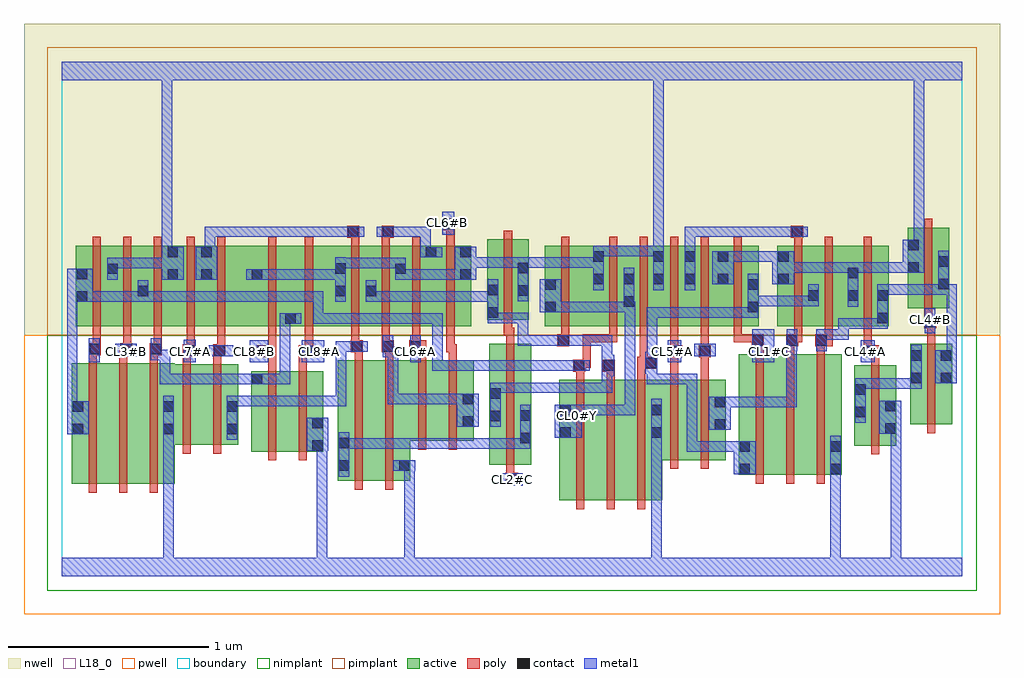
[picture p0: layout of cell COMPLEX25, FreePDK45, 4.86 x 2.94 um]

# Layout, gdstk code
import gdstk
lib = gdstk.Library(unit=1e-6, precision=1e-09)
def R(c, l, rs):  # rectangles x0, y0, x1, y1
    for r in rs: c.add(gdstk.rectangle(r[:2], r[2:], *l))
def A(c, l, x, y, w, h, nx, ny, dx, dy):  # array of equal rectangles
    R(c, l, [(x+i*dx, y+j*dy, x+i*dx+w, y+j*dy+h) for i in range(nx) for j in range(ny)])
active = (1, 0)
pwell = (2, 0)
nwell = (3, 0)
nimplant = (4, 0)
pimplant = (5, 0)
poly = (9, 0)
contact = (10, 0)
metal1 = (11, 0)
L18_0 = (18, 0)
boundary = (235, 0)

complex25 = lib.new_cell('COMPLEX25')
A(complex25, active, 0.07, 1.244, 0.06, 0.4, 3, 1, 0.152, 0)
R(complex25, active, [(2.476,0.378,2.656,0.978), (2.656,0.378,2.808,0.978), (2.808,0.378,2.988,0.978), (0.05,0.46,0.23,1.06), (0.23,0.46,0.382,1.06), (0.382,0.46,0.562,1.06), (1.374,0.474,1.554,1.074), (1.554,0.474,1.734,1.074), (3.368,0.504,3.428,1.104), (3.368,0.504,3.548,1.104), (3.548,0.504,3.7,1.104), (3.7,0.504,3.88,1.104), (3.82,0.504,3.88,1.104), (1.374,0.52,1.434,1.074), (1.674,0.52,1.734,0.674), (0.05,0.556,0.11,1.06), (2.128,0.556,2.188,1.156), (2.128,0.556,2.336,1.156), (2.276,0.556,2.336,1.156), (2.476,0.556,2.536,0.978), (2.928,0.578,3.124,0.978), (3.124,0.578,3.304,0.978), (0.942,0.62,1.122,1.02), (1.122,0.62,1.302,1.02), (1.242,0.62,1.302,1.02), (3.944,0.65,4.152,1.05), (0.502,0.654,0.698,1.054), (0.698,0.654,0.878,1.054), (1.674,0.674,1.87,1.074), (1.87,0.674,2.05,1.074), (2.928,0.686,2.988,0.858), (0.502,0.702,0.562,0.874), (0.818,0.702,0.878,1.054), (4.092,0.706,4.152,1.05), (3.244,0.726,3.304,0.978), (1.99,0.74,2.05,1.074), (0.942,0.756,1.002,1.02), (3.944,0.756,4.004,1.05), (4.222,0.756,4.282,1.156), (4.222,0.756,4.43,1.156), (4.37,0.756,4.43,1.156), (0.07,1.244,0.282,1.644), (0.222,1.244,0.434,1.644), (0.374,1.244,0.582,1.644), (0.522,1.244,0.582,1.644), (0.522,1.244,0.75,1.644), (0.69,1.244,0.75,1.644), (0.69,1.244,1.002,1.644), (0.942,1.244,1.002,1.644), (0.942,1.244,1.168,1.644), (1.108,1.244,1.168,1.644), (1.108,1.244,1.416,1.644), (1.356,1.244,1.416,1.644), (1.356,1.244,1.568,1.644), (1.508,1.244,1.568,1.644), (1.508,1.244,1.716,1.644), (1.656,1.244,1.716,1.644), (1.656,1.244,1.868,1.644), (1.808,1.244,1.868,1.644), (1.808,1.244,2.038,1.644), (1.978,1.244,2.038,1.644), (2.402,1.244,2.462,1.644), (2.402,1.244,2.7,1.644), (2.64,1.244,2.7,1.644), (2.64,1.244,2.852,1.644), (2.792,1.244,2.852,1.644), (2.792,1.244,3,1.644), (2.94,1.244,3,1.644), (2.94,1.244,3.156,1.644), (3.096,1.244,3.156,1.644), (3.096,1.244,3.32,1.644), (3.26,1.244,3.32,1.644), (3.26,1.244,3.468,1.644), (3.408,1.244,3.468,1.644), (3.56,1.244,3.62,1.644), (3.56,1.244,3.77,1.644), (3.71,1.244,3.77,1.644), (3.71,1.244,3.966,1.644), (3.906,1.244,3.966,1.644), (3.906,1.244,4.114,1.644), (4.054,1.244,4.114,1.644), (2.116,1.276,2.324,1.676), (2.116,1.276,2.176,1.644), (2.264,1.276,2.324,1.644), (4.208,1.334,4.416,1.734), (4.208,1.334,4.268,1.678), (4.356,1.334,4.416,1.644)])
R(complex25, pwell, [(-0.188,-0.188,4.668,1.2)])
R(complex25, nwell, [(-0.188,1.2,4.668,2.748)])
R(complex25, nimplant, [(-0.072,-0.072,4.552,1.2)])
R(complex25, pimplant, [(-0.072,1.2,4.552,2.632)])
A(complex25, poly, 2.56, 0.334, 0.04, 0.688, 3, 1, 0.152, 0)
A(complex25, poly, 0.134, 0.416, 0.04, 0.688, 3, 1, 0.152, 0)
A(complex25, poly, 3.452, 0.46, 0.04, 0.688, 3, 1, 0.152, 0)
A(complex25, poly, 0.134, 1.064, 0.04, 0.076, 3, 1, 0.152, 0)
A(complex25, poly, 3.452, 1.108, 0.04, 0.076, 3, 1, 0.152, 0)
A(complex25, poly, 0.154, 1.12, 0.04, 0.12, 3, 1, 0.152, 0)
A(complex25, poly, 1.44, 1.134, 0.04, 0.106, 3, 1, 0.152, 0)
A(complex25, poly, 0.154, 1.2, 0.04, 0.488, 3, 1, 0.152, 0)
A(complex25, poly, 1.44, 1.2, 0.04, 0.488, 3, 1, 0.152, 0)
A(complex25, poly, 2.724, 1.2, 0.04, 0.488, 4, 1, 0.152, 0)
R(complex25, poly, [(1.458,0.43,1.498,1.118), (1.61,0.43,1.65,1.118), (2.21,0.456,2.27,0.516), (2.212,0.476,2.252,0.552), (2.212,0.512,2.252,1.2), (3.028,0.534,3.068,1.022), (3.18,0.534,3.22,1.022), (1.026,0.576,1.066,1.064), (1.178,0.576,1.218,1.064), (4.028,0.606,4.068,1.094), (0.602,0.61,0.642,1.098), (0.754,0.61,0.794,1.098), (1.774,0.63,1.814,1.118), (1.926,0.63,1.966,1.118), (4.306,0.712,4.346,1.2), (2.56,0.982,2.6,1.058), (2.712,0.982,2.752,1.058), (2.864,0.982,2.904,1.072), (3.028,0.982,3.068,1.13), (3.18,0.982,3.22,1.13), (2.544,1.018,2.604,1.078), (2.692,1.018,2.752,1.078), (1.026,1.024,1.066,1.13), (1.178,1.024,1.218,1.13), (2.864,1.032,2.96,1.092), (2.564,1.038,2.632,1.078), (2.592,1.038,2.632,1.078), (2.592,1.038,2.632,1.204), (2.876,1.052,2.916,1.092), (2.876,1.052,2.916,1.092), (2.876,1.052,2.916,1.24), (4.028,1.054,4.068,1.13), (0.602,1.058,0.642,1.134), (0.754,1.058,0.794,1.134), (1.458,1.078,1.498,1.154), (1.61,1.078,1.65,1.154), (1.774,1.078,1.814,1.154), (1.926,1.078,1.966,1.154), (0.97,1.09,1.066,1.15), (1.178,1.09,1.25,1.15), (3.026,1.09,3.086,1.15), (3.17,1.09,3.23,1.15), (3.99,1.09,4.068,1.15), (0.602,1.094,0.662,1.154), (0.754,1.094,0.814,1.154), (0.134,1.1,0.174,1.14), (0.134,1.1,0.174,1.14), (0.134,1.1,0.194,1.16), (0.286,1.1,0.33,1.14), (0.29,1.1,0.33,1.14), (0.29,1.1,0.35,1.16), (0.438,1.1,0.498,1.16), (1.026,1.11,1.066,1.15), (1.026,1.11,1.066,1.15), (1.026,1.11,1.066,1.24), (1.21,1.11,1.25,1.15), (1.21,1.11,1.25,1.15), (1.21,1.11,1.25,1.24), (3.028,1.11,3.068,1.15), (3.028,1.11,3.068,1.15), (3.028,1.11,3.068,1.24), (3.18,1.11,3.22,1.15), (3.18,1.11,3.22,1.15), (3.18,1.11,3.22,1.24), (3.99,1.11,4.03,1.15), (3.99,1.11,4.03,1.15), (3.99,1.11,4.03,1.24), (0.622,1.114,0.662,1.154), (0.622,1.114,0.662,1.154), (0.622,1.114,0.662,1.24), (0.774,1.114,0.814,1.154), (0.774,1.114,0.814,1.154), (0.774,1.114,0.814,1.24), (1.438,1.114,1.498,1.174), (1.592,1.114,1.652,1.174), (1.73,1.114,1.814,1.174), (1.914,1.114,1.966,1.154), (1.914,1.114,1.954,1.24), (1.926,1.114,1.966,1.154), (1.926,1.114,1.966,1.154), (0.458,1.12,0.498,1.16), (0.458,1.12,0.498,1.16), (1.44,1.134,1.48,1.174), (1.44,1.134,1.48,1.174), (1.592,1.134,1.632,1.174), (1.592,1.134,1.632,1.174), (1.744,1.134,1.784,1.174), (1.744,1.134,1.784,1.174), (2.466,1.144,2.526,1.204), (3.432,1.144,3.492,1.204), (3.604,1.144,3.664,1.204), (3.75,1.144,3.836,1.204), (3.756,1.144,3.796,1.184), (3.756,1.144,3.796,1.184), (2.212,1.16,2.252,1.236), (4.306,1.16,4.346,1.274), (2.486,1.164,2.526,1.24), (2.592,1.164,2.632,1.204), (2.592,1.164,2.764,1.204), (2.724,1.164,2.764,1.24), (2.724,1.164,2.764,1.204), (3.344,1.164,3.384,1.24), (3.344,1.164,3.472,1.204), (3.432,1.164,3.472,1.204), (3.624,1.164,3.664,1.204), (3.624,1.164,3.684,1.204), (3.644,1.164,3.684,1.24), (3.796,1.164,3.836,1.24), (2.2,1.196,2.24,1.272), (2.2,1.196,2.252,1.236), (2.212,1.196,2.252,1.236), (2.212,1.196,2.252,1.236), (0.622,1.2,0.662,1.688), (0.774,1.2,0.814,1.688), (1.026,1.2,1.066,1.688), (1.21,1.2,1.25,1.688), (1.914,1.2,1.954,1.688), (2.486,1.2,2.526,1.688), (3.344,1.2,3.384,1.688), (3.644,1.2,3.684,1.688), (3.796,1.2,3.836,1.688), (3.99,1.2,4.03,1.688), (2.2,1.232,2.24,1.72), (4.29,1.234,4.35,1.294), (4.292,1.254,4.332,1.33), (4.292,1.254,4.332,1.294), (4.292,1.254,4.332,1.294), (4.292,1.29,4.332,1.778), (1.44,1.648,1.48,1.724), (1.592,1.648,1.632,1.724), (1.914,1.648,1.954,1.762), (3.644,1.648,3.684,1.724), (1.42,1.684,1.48,1.744), (1.592,1.684,1.652,1.744), (3.628,1.684,3.688,1.744), (1.894,1.722,1.954,1.782)])
R(complex25, contact, [(2.214,0.46,2.266,0.512), (3.372,0.508,3.424,0.56), (3.824,0.508,3.876,0.56), (1.378,0.524,1.43,0.576), (1.678,0.524,1.73,0.576), (3.372,0.62,3.424,0.672), (3.824,0.62,3.876,0.672), (1.246,0.624,1.298,0.676), (1.378,0.636,1.43,0.688), (2.28,0.662,2.332,0.714), (2.48,0.69,2.532,0.742), (2.932,0.69,2.984,0.742), (0.054,0.706,0.106,0.758), (0.506,0.706,0.558,0.758), (0.822,0.706,0.874,0.758), (4.096,0.71,4.148,0.762), (3.248,0.73,3.3,0.782), (1.246,0.736,1.298,0.788), (1.994,0.744,2.046,0.796), (2.132,0.772,2.184,0.824), (2.28,0.774,2.332,0.826), (3.948,0.792,4,0.844), (2.48,0.802,2.532,0.854), (2.932,0.802,2.984,0.854), (0.054,0.818,0.106,0.87), (0.506,0.818,0.558,0.87), (0.822,0.818,0.874,0.87), (4.096,0.822,4.148,0.874), (3.248,0.842,3.3,0.894), (1.994,0.856,2.046,0.908), (2.132,0.884,2.184,0.936), (3.948,0.904,4,0.956), (0.946,0.956,0.998,1.008), (4.226,0.96,4.278,1.012), (4.374,0.96,4.426,1.012), (2.548,1.022,2.6,1.074), (2.696,1.022,2.748,1.074), (2.904,1.036,2.956,1.088), (4.226,1.072,4.278,1.124), (4.374,1.072,4.426,1.124), (0.974,1.094,1.026,1.146), (1.194,1.094,1.246,1.146), (3.03,1.094,3.082,1.146), (3.174,1.094,3.226,1.146), (3.994,1.094,4.046,1.146), (0.606,1.098,0.658,1.15), (0.758,1.098,0.81,1.15), (0.138,1.104,0.19,1.156), (0.294,1.104,0.346,1.156), (0.442,1.104,0.494,1.156), (1.442,1.118,1.494,1.17), (1.596,1.118,1.648,1.17), (1.734,1.118,1.786,1.17), (2.47,1.148,2.522,1.2), (3.436,1.148,3.488,1.2), (3.608,1.148,3.66,1.2), (3.754,1.148,3.806,1.2), (4.294,1.238,4.346,1.29), (1.112,1.256,1.164,1.308), (4.058,1.26,4.11,1.312), (2.12,1.286,2.172,1.338), (2.406,1.314,2.458,1.366), (3.412,1.314,3.464,1.366), (2.796,1.342,2.848,1.394), (0.074,1.366,0.126,1.418), (3.91,1.37,3.962,1.422), (3.714,1.372,3.766,1.424), (4.058,1.372,4.11,1.424), (0.378,1.394,0.43,1.446), (1.36,1.394,1.412,1.446), (1.512,1.394,1.564,1.446), (2.268,1.396,2.32,1.448), (2.12,1.398,2.172,1.45), (2.406,1.426,2.458,1.478), (3.412,1.426,3.464,1.478), (4.36,1.428,4.412,1.48), (2.644,1.452,2.696,1.504), (2.944,1.452,2.996,1.504), (3.1,1.452,3.152,1.504), (3.264,1.452,3.316,1.504), (2.796,1.454,2.848,1.506), (3.564,1.454,3.616,1.506), (0.526,1.476,0.578,1.528), (0.694,1.476,0.746,1.528), (0.946,1.476,0.998,1.528), (1.982,1.476,2.034,1.528), (0.074,1.478,0.126,1.53), (3.91,1.482,3.962,1.534), (0.226,1.504,0.278,1.556), (1.66,1.504,1.712,1.556), (1.36,1.506,1.412,1.558), (2.268,1.508,2.32,1.56), (4.212,1.51,4.264,1.562), (4.36,1.54,4.412,1.592), (2.644,1.564,2.696,1.616), (2.944,1.564,2.996,1.616), (3.1,1.564,3.152,1.616), (3.264,1.564,3.316,1.616), (3.564,1.566,3.616,1.618), (1.812,1.586,1.864,1.638), (0.526,1.588,0.578,1.64), (0.694,1.588,0.746,1.64), (1.982,1.588,2.034,1.64), (4.212,1.622,4.264,1.674), (1.424,1.688,1.476,1.74), (1.596,1.688,1.648,1.74), (3.632,1.688,3.684,1.74), (1.898,1.726,1.95,1.778)])
A(complex25, metal1, 1.66, 1.256, 0.176, 0.052, 1, 3, 0, 0.11)
R(complex25, metal1, [(0,0,4.48,0.092), (0.506,0.04,0.558,0.092), (0.506,0.04,0.558,0.092), (0.506,0.04,0.558,0.73), (1.268,0.04,1.32,0.092), (1.268,0.04,1.32,0.092), (1.268,0.04,1.32,0.092), (1.268,0.04,1.32,0.092), (1.268,0.04,1.32,0.676), (1.704,0.04,1.756,0.092), (1.704,0.04,1.756,0.092), (1.704,0.04,1.756,0.092), (1.704,0.04,1.756,0.092), (1.704,0.04,1.756,0.576), (2.932,0.04,2.984,0.092), (2.932,0.04,2.984,0.092), (2.932,0.04,2.984,0.092), (2.932,0.04,2.984,0.092), (2.932,0.04,2.984,0.092), (2.932,0.04,2.984,0.092), (2.932,0.04,2.984,0.092), (2.932,0.04,2.984,0.092), (2.932,0.04,2.984,0.714), (3.824,0.04,3.876,0.092), (3.824,0.04,3.876,0.092), (3.824,0.04,3.876,0.092), (3.824,0.04,3.876,0.092), (3.824,0.04,3.876,0.092), (3.824,0.04,3.876,0.092), (3.824,0.04,3.876,0.532), (4.124,0.04,4.176,0.092), (4.124,0.04,4.176,0.092), (4.124,0.04,4.176,0.092), (4.124,0.04,4.176,0.092), (4.124,0.04,4.176,0.092), (4.124,0.04,4.176,0.092), (4.124,0.04,4.176,0.092), (4.124,0.04,4.176,0.092), (4.124,0.04,4.176,0.762), (2.186,0.45,2.294,0.512), (3.824,0.48,3.876,0.532), (3.824,0.48,3.876,0.532), (3.824,0.48,3.876,0.7), (1.378,0.496,1.43,0.716), (3.344,0.508,3.452,0.672), (1.65,0.524,1.758,0.576), (1.704,0.524,1.756,0.576), (1.704,0.524,1.756,0.576), (1.704,0.524,1.756,0.576), (1.704,0.524,1.756,0.576), (3.11,0.62,3.162,0.672), (3.11,0.62,3.176,0.672), (3.11,0.62,3.162,1.008), (3.124,0.62,3.176,0.672), (3.124,0.62,3.344,0.672), (3.292,0.62,3.344,0.672), (3.292,0.62,3.396,0.672), (1.218,0.624,1.326,0.788), (1.268,0.624,1.32,0.676), (1.268,0.624,1.32,0.676), (1.268,0.624,1.32,0.676), (1.268,0.624,1.32,0.676), (1.268,0.624,1.32,0.676), (1.268,0.624,1.32,0.676), (1.268,0.624,1.32,0.676), (1.268,0.624,1.32,0.676), (1.378,0.634,1.454,0.686), (1.402,0.634,1.454,0.686), (1.402,0.634,1.564,0.686), (1.512,0.634,1.564,0.686), (1.512,0.634,1.564,0.686), (1.512,0.634,1.564,0.686), (1.512,0.634,1.712,0.686), (1.66,0.634,1.712,0.686), (1.66,0.634,1.836,0.686), (1.784,0.634,1.836,0.686), (1.784,0.634,1.836,0.686), (1.784,0.634,1.836,0.686), (1.784,0.634,1.946,0.686), (1.894,0.634,1.946,0.686), (1.894,0.634,2.128,0.686), (2.076,0.634,2.128,0.686), (2.076,0.634,2.128,0.686), (2.076,0.634,2.128,0.686), (2.076,0.634,2.238,0.686), (2.186,0.634,2.238,0.686), (2.186,0.634,2.332,0.686), (2.28,0.634,2.332,0.854), (2.932,0.662,2.984,0.882), (0.506,0.678,0.558,0.73), (0.506,0.678,0.558,0.73), (0.506,0.678,0.558,0.73), (0.506,0.678,0.558,0.73), (0.506,0.678,0.558,0.73), (0.506,0.678,0.558,0.73), (0.506,0.678,0.558,0.898), (0.822,0.678,0.874,0.898), (2.452,0.69,2.586,0.854), (0.026,0.706,0.134,0.87), (4.068,0.71,4.176,0.874), (4.124,0.71,4.176,0.762), (4.124,0.71,4.176,0.762), (4.124,0.71,4.176,0.762), (4.124,0.71,4.176,0.762), (3.22,0.73,3.328,0.894), (1.966,0.744,2.074,0.908), (2.132,0.744,2.184,0.964), (3.948,0.764,4,0.984), (2.534,0.802,2.586,0.854), (2.534,0.802,2.586,0.854), (2.534,0.802,2.738,0.854), (2.686,0.802,2.738,0.854), (2.686,0.802,2.738,0.854), (2.686,0.802,2.738,0.854), (2.686,0.802,2.852,0.854), (2.8,0.802,2.852,0.854), (2.8,0.802,2.852,0.854), (2.8,0.802,2.852,0.854), (2.8,0.802,2.852,0.854), (2.8,0.802,2.852,0.854), (2.8,0.802,2.852,1.366), (0.026,0.818,0.078,0.87), (0.026,0.818,0.078,0.87), (0.026,0.818,0.078,1.418), (3.276,0.842,3.328,0.894), (3.276,0.842,3.328,0.894), (3.276,0.842,3.454,0.894), (3.402,0.842,3.454,0.894), (3.402,0.842,3.454,0.894), (3.402,0.842,3.454,0.894), (3.402,0.842,3.656,0.894), (3.604,0.842,3.656,0.894), (3.604,0.842,3.656,1.172), (0.822,0.846,0.874,0.898), (0.822,0.846,0.874,0.898), (0.822,0.846,0.984,0.898), (0.932,0.846,0.984,0.898), (0.932,0.846,1.16,0.898), (1.108,0.846,1.16,0.898), (1.108,0.846,1.16,0.898), (1.108,0.846,1.16,0.898), (1.108,0.846,1.27,0.898), (1.218,0.846,1.27,0.898), (1.218,0.846,1.416,0.898), (1.364,0.846,1.416,0.898), (1.364,0.846,1.416,1.17), (1.622,0.856,1.674,0.908), (1.622,0.856,1.822,0.908), (1.622,0.856,1.674,1.142), (1.77,0.856,1.822,0.908), (1.77,0.856,1.822,0.908), (1.77,0.856,1.822,0.908), (1.77,0.856,2.018,0.908), (1.966,0.856,2.018,0.908), (1.966,0.856,2.018,0.908), (2.132,0.912,2.32,0.964), (2.268,0.912,2.32,0.964), (2.268,0.912,2.32,0.964), (2.268,0.912,2.32,0.964), (2.268,0.912,2.442,0.964), (2.39,0.912,2.442,0.964), (2.39,0.912,2.442,0.964), (2.39,0.912,2.442,0.964), (2.39,0.912,2.738,0.964), (2.686,0.912,2.738,0.964), (2.686,0.912,2.738,1.046), (3.948,0.932,4,0.984), (3.948,0.932,4,0.984), (3.948,0.932,4.11,0.984), (4.058,0.932,4.11,0.984), (4.058,0.932,4.278,0.984), (4.226,0.932,4.278,1.152), (0.488,0.956,0.54,1.008), (0.488,0.956,0.654,1.008), (0.488,0.956,0.54,1.128), (0.602,0.956,0.654,1.008), (0.602,0.956,0.764,1.008), (0.712,0.956,0.764,1.008), (0.712,0.956,0.764,1.008), (0.712,0.956,0.764,1.008), (0.712,0.956,0.874,1.008), (0.822,0.956,0.874,1.008), (0.822,0.956,0.97,1.008), (0.918,0.956,1.026,1.008), (0.974,0.956,1.026,1.008), (0.974,0.956,1.026,1.008), (0.974,0.956,1.136,1.008), (1.084,0.956,1.136,1.008), (1.084,0.956,1.136,1.308), (2.91,0.956,2.962,1.008), (2.91,0.956,3.066,1.008), (2.91,0.956,2.962,1.06), (3.014,0.956,3.066,1.008), (3.014,0.956,3.162,1.008), (3.11,0.956,3.162,1.008), (4.346,0.96,4.454,1.124), (2.686,0.994,2.738,1.046), (2.686,0.994,2.748,1.046), (2.686,0.994,2.738,1.2), (2.696,0.994,2.748,1.102), (2.904,1.008,2.956,1.116), (2.904,1.008,2.962,1.06), (2.91,1.008,2.962,1.06), (2.91,1.008,2.962,1.338), (1.844,1.022,1.896,1.074), (1.844,1.022,1.994,1.074), (1.844,1.022,1.896,1.308), (1.942,1.022,1.994,1.074), (1.942,1.022,2.128,1.074), (2.076,1.022,2.128,1.074), (2.076,1.022,2.128,1.074), (2.076,1.022,2.128,1.074), (2.076,1.022,2.32,1.074), (2.268,1.022,2.32,1.074), (2.268,1.022,2.32,1.074), (2.268,1.022,2.32,1.074), (2.268,1.022,2.572,1.074), (2.52,1.022,2.572,1.074), (2.52,1.022,2.572,1.074), (2.52,1.022,2.628,1.074), (0.134,1.066,0.19,1.184), (0.606,1.066,0.666,1.178), (0.934,1.066,1.026,1.174), (1.194,1.066,1.306,1.174), (1.734,1.066,1.786,1.198), (3.014,1.066,3.082,1.174), (3.436,1.066,3.546,1.228), (3.974,1.066,4.046,1.174), (4.402,1.072,4.454,1.452), (0.442,1.076,0.494,1.184), (0.442,1.076,0.54,1.128), (0.488,1.076,0.54,1.128), (1.596,1.09,1.648,1.198), (1.596,1.09,1.674,1.142), (1.622,1.09,1.674,1.142), (0.266,1.094,0.374,1.156), (0.73,1.094,0.854,1.15), (3.146,1.094,3.254,1.156), (1.364,1.118,1.416,1.17), (1.364,1.118,1.416,1.17), (1.364,1.118,1.416,1.17), (1.364,1.118,1.466,1.17), (1.414,1.118,1.522,1.17), (3.604,1.12,3.656,1.172), (3.604,1.12,3.66,1.172), (3.608,1.12,3.66,1.228), (3.754,1.12,3.806,1.228), (2.268,1.148,2.32,1.2), (2.268,1.148,2.494,1.2), (2.268,1.148,2.32,1.31), (2.442,1.148,2.494,1.2), (2.442,1.148,2.494,1.2), (2.442,1.148,2.55,1.2), (2.498,1.148,2.738,1.2), (2.686,1.148,2.738,1.2), (3.754,1.176,3.89,1.228), (3.838,1.176,3.89,1.228), (3.838,1.176,3.916,1.228), (3.864,1.176,3.916,1.228), (3.864,1.176,3.916,1.284), (4.294,1.21,4.346,1.334), (3.864,1.232,3.916,1.284), (3.864,1.232,4,1.284), (3.948,1.232,4,1.284), (3.948,1.232,4.11,1.284), (4.058,1.232,4.11,1.452), (1.084,1.256,1.136,1.308), (1.084,1.256,1.136,1.308), (1.084,1.256,1.136,1.308), (1.084,1.256,1.136,1.308), (1.084,1.256,1.192,1.308), (1.25,1.256,1.302,1.308), (1.25,1.256,1.454,1.308), (1.25,1.256,1.302,1.418), (1.402,1.256,1.454,1.308), (1.402,1.256,1.454,1.308), (1.402,1.256,1.454,1.308), (1.402,1.256,1.454,1.308), (1.402,1.256,1.454,1.308), (1.402,1.256,1.564,1.308), (1.512,1.256,1.564,1.308), (1.512,1.256,1.564,1.308), (1.512,1.256,1.564,1.308), (1.512,1.256,1.712,1.308), (1.66,1.256,1.712,1.308), (1.784,1.256,1.836,1.308), (1.784,1.256,1.896,1.308), (1.844,1.256,1.896,1.308), (2.12,1.258,2.172,1.478), (2.12,1.258,2.32,1.31), (2.268,1.258,2.32,1.31), (2.268,1.258,2.32,1.31), (2.268,1.258,2.32,1.31), (2.91,1.286,2.962,1.338), (2.91,1.286,2.962,1.338), (2.91,1.286,2.962,1.338), (2.91,1.286,3.066,1.338), (3.014,1.286,3.066,1.338), (3.014,1.286,3.162,1.338), (3.11,1.286,3.162,1.338), (3.11,1.286,3.176,1.338), (3.124,1.286,3.176,1.338), (3.124,1.286,3.288,1.338), (3.236,1.286,3.288,1.338), (3.236,1.286,3.288,1.338), (3.236,1.286,3.288,1.338), (3.236,1.286,3.464,1.338), (3.412,1.286,3.464,1.338), (3.412,1.286,3.464,1.338), (3.412,1.286,3.464,1.506), (2.378,1.314,2.486,1.478), (2.434,1.314,2.486,1.366), (2.434,1.314,2.486,1.366), (2.434,1.314,2.738,1.366), (2.686,1.314,2.738,1.366), (2.686,1.314,2.846,1.366), (2.794,1.314,2.846,1.366), (2.794,1.314,2.848,1.366), (2.796,1.314,2.848,1.366), (2.796,1.314,2.848,1.534), (2.796,1.314,2.852,1.366), (2.8,1.314,2.852,1.366), (2.8,1.314,2.852,1.366), (3.91,1.342,3.962,1.562), (3.412,1.344,3.656,1.396), (3.604,1.344,3.656,1.396), (3.604,1.344,3.656,1.396), (3.604,1.344,3.656,1.396), (3.604,1.344,3.766,1.396), (3.714,1.344,3.766,1.452), (0.026,1.366,0.078,1.418), (0.026,1.366,0.078,1.418), (0.026,1.366,0.154,1.53), (0.102,1.366,0.154,1.418), (0.102,1.366,0.154,1.418), (0.102,1.366,0.264,1.418), (0.212,1.366,0.264,1.418), (0.212,1.366,0.264,1.418), (0.212,1.366,0.264,1.418), (0.212,1.366,0.43,1.418), (0.378,1.366,0.43,1.418), (0.378,1.366,0.43,1.418), (0.378,1.366,0.43,1.474), (0.378,1.366,0.608,1.418), (0.556,1.366,0.608,1.418), (0.556,1.366,0.608,1.418), (0.556,1.366,0.608,1.418), (0.556,1.366,0.608,1.418), (0.556,1.366,0.608,1.418), (0.556,1.366,0.764,1.418), (0.712,1.366,0.764,1.418), (0.712,1.366,0.764,1.418), (0.712,1.366,0.764,1.418), (0.712,1.366,0.874,1.418), (0.822,1.366,0.874,1.418), (0.822,1.366,1.026,1.418), (0.974,1.366,1.026,1.418), (0.974,1.366,1.026,1.418), (0.974,1.366,1.026,1.418), (0.974,1.366,1.16,1.418), (1.108,1.366,1.16,1.418), (1.108,1.366,1.16,1.418), (1.108,1.366,1.16,1.418), (1.108,1.366,1.302,1.418), (1.25,1.366,1.302,1.418), (1.36,1.366,1.412,1.586), (1.512,1.366,1.564,1.418), (1.512,1.366,1.564,1.418), (1.512,1.366,1.564,1.474), (1.512,1.366,1.712,1.418), (1.66,1.366,1.712,1.418), (1.784,1.366,1.836,1.418), (1.784,1.366,1.836,1.418), (1.784,1.366,1.836,1.418), (1.784,1.366,2.018,1.418), (1.966,1.366,2.018,1.418), (1.966,1.366,2.018,1.418), (1.966,1.366,2.018,1.418), (1.966,1.366,2.172,1.418), (2.268,1.368,2.32,1.588), (4.058,1.4,4.11,1.452), (4.058,1.4,4.11,1.452), (4.058,1.4,4.412,1.452), (4.36,1.4,4.412,1.452), (4.36,1.4,4.412,1.452), (4.36,1.4,4.412,1.452), (4.36,1.4,4.412,1.62), (4.36,1.4,4.454,1.452), (4.402,1.4,4.454,1.452), (4.402,1.4,4.454,1.452), (2.644,1.424,2.696,1.644), (2.944,1.424,2.996,1.644), (3.1,1.424,3.152,1.644), (3.236,1.452,3.344,1.616), (3.536,1.454,3.644,1.618), (0.226,1.476,0.278,1.584), (0.498,1.476,0.606,1.64), (0.666,1.476,0.774,1.64), (0.918,1.476,1.026,1.528), (0.974,1.476,1.026,1.528), (0.974,1.476,1.026,1.528), (0.974,1.476,1.16,1.528), (1.108,1.476,1.16,1.528), (1.108,1.476,1.16,1.528), (1.108,1.476,1.16,1.528), (1.108,1.476,1.338,1.528), (1.286,1.476,1.338,1.528), (1.286,1.476,1.412,1.528), (1.66,1.476,1.712,1.584), (1.784,1.476,1.836,1.528), (1.784,1.476,1.836,1.528), (1.784,1.476,1.836,1.528), (1.784,1.476,2.006,1.528), (1.954,1.476,2.006,1.528), (1.954,1.476,2.006,1.528), (1.954,1.476,2.006,1.528), (1.954,1.476,2.006,1.528), (1.954,1.476,2.062,1.64), (3.592,1.51,3.656,1.562), (3.604,1.51,3.656,1.562), (3.604,1.51,3.766,1.562), (3.714,1.51,3.766,1.562), (3.714,1.51,3.766,1.562), (3.714,1.51,3.766,1.562), (3.714,1.51,3.89,1.562), (3.838,1.51,3.89,1.562), (3.838,1.51,3.962,1.562), (3.91,1.51,4,1.562), (3.948,1.51,4,1.562), (3.948,1.51,4.236,1.562), (4.184,1.51,4.236,1.562), (4.184,1.51,4.236,1.562), (4.184,1.51,4.292,1.674), (0.226,1.532,0.278,1.584), (0.226,1.532,0.278,1.584), (0.226,1.532,0.388,1.584), (0.336,1.532,0.388,1.584), (0.336,1.532,0.388,1.584), (0.336,1.532,0.388,1.584), (0.336,1.532,0.55,1.584), (1.36,1.532,1.448,1.584), (1.396,1.532,1.448,1.584), (1.396,1.532,1.564,1.584), (1.512,1.532,1.564,1.584), (1.512,1.532,1.564,1.584), (1.512,1.532,1.564,1.584), (1.512,1.532,1.712,1.584), (2.01,1.536,2.128,1.588), (2.076,1.536,2.128,1.588), (2.076,1.536,2.32,1.588), (2.268,1.536,2.32,1.588), (2.268,1.536,2.32,1.588), (2.268,1.536,2.442,1.588), (2.39,1.536,2.442,1.588), (2.39,1.536,2.442,1.588), (2.39,1.536,2.442,1.588), (2.39,1.536,2.696,1.588), (3.292,1.564,3.454,1.616), (3.402,1.564,3.454,1.616), (3.402,1.564,3.454,1.616), (3.402,1.564,3.454,1.616), (3.402,1.564,3.588,1.616), (1.784,1.586,1.892,1.638), (1.784,1.586,1.836,1.74), (0.498,1.588,0.55,2.52), (0.712,1.588,0.764,1.74), (2.644,1.592,2.846,1.644), (2.794,1.592,2.846,1.644), (2.794,1.592,2.852,1.644), (2.8,1.592,2.852,1.644), (2.8,1.592,2.956,1.644), (2.904,1.592,2.956,1.644), (2.904,1.592,2.996,1.644), (2.944,1.592,2.996,2.52), (3.1,1.592,3.152,1.74), (4.24,1.622,4.292,2.52), (0.712,1.688,0.764,1.74), (0.712,1.688,0.764,1.74), (0.712,1.688,0.764,1.74), (0.712,1.688,0.874,1.74), (0.822,1.688,0.874,1.74), (0.822,1.688,1.026,1.74), (0.974,1.688,1.026,1.74), (0.974,1.688,1.026,1.74), (0.974,1.688,1.026,1.74), (0.974,1.688,1.16,1.74), (1.108,1.688,1.16,1.74), (1.108,1.688,1.16,1.74), (1.108,1.688,1.16,1.74), (1.108,1.688,1.27,1.74), (1.218,1.688,1.27,1.74), (1.218,1.688,1.448,1.74), (1.396,1.688,1.448,1.74), (1.396,1.688,1.448,1.74), (1.396,1.688,1.504,1.74), (1.568,1.688,1.676,1.74), (1.624,1.688,1.676,1.74), (1.624,1.688,1.676,1.74), (1.624,1.688,1.836,1.74), (1.784,1.688,1.836,1.74), (1.784,1.688,1.836,1.74), (1.784,1.688,1.836,1.74), (3.1,1.688,3.152,1.74), (3.1,1.688,3.178,1.74), (3.126,1.688,3.178,1.74), (3.126,1.688,3.344,1.74), (3.292,1.688,3.344,1.74), (3.292,1.688,3.344,1.74), (3.292,1.688,3.344,1.74), (3.292,1.688,3.454,1.74), (3.402,1.688,3.454,1.74), (3.402,1.688,3.454,1.74), (3.402,1.688,3.454,1.74), (3.402,1.688,3.656,1.74), (3.604,1.688,3.656,1.74), (3.604,1.688,3.656,1.74), (3.604,1.688,3.712,1.74), (1.894,1.698,1.952,1.814), (0,2.468,4.48,2.56), (0.498,2.468,0.55,2.52), (0.498,2.468,0.55,2.52), (0.498,2.468,0.55,2.52), (0.498,2.468,0.55,2.52), (0.498,2.468,0.55,2.52), (0.498,2.468,0.55,2.52), (0.498,2.468,0.55,2.52), (0.498,2.468,0.55,2.52), (0.498,2.468,0.55,2.52), (0.498,2.468,0.55,2.52), (0.498,2.468,0.55,2.52), (0.498,2.468,0.55,2.52), (0.498,2.468,0.55,2.52), (0.498,2.468,0.55,2.52), (0.498,2.468,0.55,2.52), (0.498,2.468,0.55,2.52), (2.944,2.468,2.996,2.52), (2.944,2.468,2.996,2.52), (2.944,2.468,2.996,2.52), (2.944,2.468,2.996,2.52), (2.944,2.468,2.996,2.52), (2.944,2.468,2.996,2.52), (2.944,2.468,2.996,2.52), (2.944,2.468,2.996,2.52), (2.944,2.468,2.996,2.52), (2.944,2.468,2.996,2.52), (2.944,2.468,2.996,2.52), (2.944,2.468,2.996,2.52), (2.944,2.468,2.996,2.52), (2.944,2.468,2.996,2.52), (2.944,2.468,2.996,2.52), (2.944,2.468,2.996,2.52), (4.24,2.468,4.292,2.52), (4.24,2.468,4.292,2.52), (4.24,2.468,4.292,2.52), (4.24,2.468,4.292,2.52), (4.24,2.468,4.292,2.52), (4.24,2.468,4.292,2.52), (4.24,2.468,4.292,2.52), (4.24,2.468,4.292,2.52), (4.24,2.468,4.292,2.52), (4.24,2.468,4.292,2.52), (4.24,2.468,4.292,2.52), (4.24,2.468,4.292,2.52), (4.24,2.468,4.292,2.52), (4.24,2.468,4.292,2.52), (4.24,2.468,4.292,2.52), (4.24,2.468,4.292,2.52)])
A(complex25, L18_0, 0.614, 1.094, 0.052, 0.052, 3, 1, 0.16, 0)
R(complex25, L18_0, [(0,0,4.48,0.092), (0.506,0.04,0.558,0.092), (0.506,0.04,0.558,0.092), (0.506,0.04,0.558,0.73), (1.268,0.04,1.32,0.092), (1.268,0.04,1.32,0.092), (1.268,0.04,1.32,0.092), (1.268,0.04,1.32,0.092), (1.268,0.04,1.32,0.676), (1.704,0.04,1.756,0.092), (1.704,0.04,1.756,0.092), (1.704,0.04,1.756,0.092), (1.704,0.04,1.756,0.092), (1.704,0.04,1.756,0.576), (2.932,0.04,2.984,0.092), (2.932,0.04,2.984,0.092), (2.932,0.04,2.984,0.092), (2.932,0.04,2.984,0.092), (2.932,0.04,2.984,0.092), (2.932,0.04,2.984,0.092), (2.932,0.04,2.984,0.092), (2.932,0.04,2.984,0.092), (2.932,0.04,2.984,0.714), (3.824,0.04,3.876,0.092), (3.824,0.04,3.876,0.092), (3.824,0.04,3.876,0.092), (3.824,0.04,3.876,0.092), (3.824,0.04,3.876,0.092), (3.824,0.04,3.876,0.092), (3.824,0.04,3.876,0.532), (4.124,0.04,4.176,0.092), (4.124,0.04,4.176,0.092), (4.124,0.04,4.176,0.092), (4.124,0.04,4.176,0.092), (4.124,0.04,4.176,0.092), (4.124,0.04,4.176,0.092), (4.124,0.04,4.176,0.092), (4.124,0.04,4.176,0.092), (4.124,0.04,4.176,0.762), (2.186,0.45,2.294,0.512), (2.214,0.454,2.266,0.506), (3.824,0.48,3.876,0.532), (3.824,0.48,3.876,0.532), (3.824,0.48,3.876,0.7), (1.65,0.524,1.758,0.576), (1.704,0.524,1.756,0.576), (1.704,0.524,1.756,0.576), (1.704,0.524,1.756,0.576), (1.704,0.524,1.756,0.576), (1.218,0.624,1.326,0.788), (1.268,0.624,1.32,0.676), (1.268,0.624,1.32,0.676), (1.268,0.624,1.32,0.676), (1.268,0.624,1.32,0.676), (1.268,0.624,1.32,0.676), (1.268,0.624,1.32,0.676), (1.268,0.624,1.32,0.676), (1.268,0.624,1.32,0.676), (2.932,0.662,2.984,0.882), (0.506,0.678,0.558,0.73), (0.506,0.678,0.558,0.73), (0.506,0.678,0.558,0.73), (0.506,0.678,0.558,0.73), (0.506,0.678,0.558,0.73), (0.506,0.678,0.558,0.73), (0.506,0.678,0.558,0.898), (2.452,0.69,2.586,0.854), (4.068,0.71,4.176,0.874), (4.124,0.71,4.176,0.762), (4.124,0.71,4.176,0.762), (4.124,0.71,4.176,0.762), (4.124,0.71,4.176,0.762), (2.534,0.774,2.586,0.826), (2.534,0.802,2.586,0.854), (2.534,0.802,2.586,0.854), (2.534,0.802,2.738,0.854), (2.686,0.802,2.738,0.854), (2.686,0.802,2.738,0.854), (2.686,0.802,2.738,0.854), (2.686,0.802,2.852,0.854), (2.8,0.802,2.852,0.854), (2.8,0.802,2.852,0.854), (2.8,0.802,2.852,0.854), (2.8,0.802,2.852,0.854), (2.8,0.802,2.852,0.854), (2.8,0.802,2.852,1.366), (0.134,1.066,0.19,1.184), (0.606,1.066,0.666,1.178), (0.934,1.066,1.026,1.174), (1.194,1.066,1.306,1.174), (1.734,1.066,1.786,1.198), (3.014,1.066,3.082,1.174), (3.436,1.066,3.546,1.228), (3.974,1.066,4.046,1.174), (0.134,1.094,0.186,1.146), (0.266,1.094,0.374,1.156), (0.294,1.094,0.346,1.146), (0.73,1.094,0.854,1.15), (1.254,1.094,1.306,1.146), (1.734,1.094,1.786,1.146), (3.014,1.094,3.066,1.146), (3.146,1.094,3.254,1.156), (3.174,1.094,3.226,1.146), (3.494,1.094,3.546,1.146), (3.974,1.094,4.026,1.146), (4.294,1.21,4.346,1.334), (4.294,1.254,4.346,1.306), (2.378,1.314,2.486,1.478), (2.434,1.314,2.486,1.366), (2.434,1.314,2.486,1.366), (2.434,1.314,2.738,1.366), (2.686,1.314,2.738,1.366), (2.686,1.314,2.846,1.366), (2.794,1.314,2.846,1.366), (2.794,1.314,2.848,1.366), (2.796,1.314,2.848,1.366), (2.796,1.314,2.848,1.534), (2.796,1.314,2.852,1.366), (2.8,1.314,2.852,1.366), (2.8,1.314,2.852,1.366), (3.91,1.342,3.962,1.562), (1.36,1.366,1.412,1.586), (2.268,1.368,2.32,1.588), (2.644,1.424,2.696,1.644), (2.944,1.424,2.996,1.644), (3.236,1.452,3.344,1.616), (3.536,1.454,3.644,1.618), (0.226,1.476,0.278,1.584), (0.498,1.476,0.606,1.64), (0.918,1.476,1.026,1.528), (0.974,1.476,1.026,1.528), (0.974,1.476,1.026,1.528), (0.974,1.476,1.16,1.528), (1.108,1.476,1.16,1.528), (1.108,1.476,1.16,1.528), (1.108,1.476,1.16,1.528), (1.108,1.476,1.338,1.528), (1.286,1.476,1.338,1.528), (1.286,1.476,1.412,1.528), (1.66,1.476,1.712,1.584), (1.66,1.476,1.836,1.528), (1.784,1.476,1.836,1.528), (1.784,1.476,1.836,1.528), (1.784,1.476,1.836,1.528), (1.784,1.476,2.006,1.528), (1.954,1.476,2.006,1.528), (1.954,1.476,2.006,1.528), (1.954,1.476,2.006,1.528), (1.954,1.476,2.006,1.528), (1.954,1.476,2.062,1.64), (3.592,1.51,3.656,1.562), (3.604,1.51,3.656,1.562), (3.604,1.51,3.766,1.562), (3.714,1.51,3.766,1.562), (3.714,1.51,3.766,1.562), (3.714,1.51,3.766,1.562), (3.714,1.51,3.89,1.562), (3.838,1.51,3.89,1.562), (3.838,1.51,3.962,1.562), (3.91,1.51,4,1.562), (3.948,1.51,4,1.562), (3.948,1.51,4.236,1.562), (4.184,1.51,4.236,1.562), (4.184,1.51,4.236,1.562), (4.184,1.51,4.292,1.674), (0.226,1.532,0.278,1.584), (0.226,1.532,0.278,1.584), (0.226,1.532,0.388,1.584), (0.336,1.532,0.388,1.584), (0.336,1.532,0.388,1.584), (0.336,1.532,0.388,1.584), (0.336,1.532,0.55,1.584), (1.36,1.532,1.448,1.584), (1.396,1.532,1.448,1.584), (1.396,1.532,1.564,1.584), (1.512,1.532,1.564,1.584), (1.512,1.532,1.564,1.584), (1.512,1.532,1.564,1.584), (1.512,1.532,1.712,1.584), (2.01,1.536,2.128,1.588), (2.076,1.536,2.128,1.588), (2.076,1.536,2.32,1.588), (2.268,1.536,2.32,1.588), (2.268,1.536,2.32,1.588), (2.268,1.536,2.442,1.588), (2.39,1.536,2.442,1.588), (2.39,1.536,2.442,1.588), (2.39,1.536,2.442,1.588), (2.39,1.536,2.696,1.588), (3.292,1.564,3.454,1.616), (3.402,1.564,3.454,1.616), (3.402,1.564,3.454,1.616), (3.402,1.564,3.454,1.616), (3.402,1.564,3.588,1.616), (0.498,1.588,0.55,2.52), (2.644,1.592,2.846,1.644), (2.794,1.592,2.846,1.644), (2.794,1.592,2.852,1.644), (2.8,1.592,2.852,1.644), (2.8,1.592,2.956,1.644), (2.904,1.592,2.956,1.644), (2.904,1.592,2.996,1.644), (2.944,1.592,2.996,2.52), (4.24,1.622,4.292,2.52), (1.894,1.698,1.952,1.814), (1.894,1.734,1.946,1.786), (0,2.468,4.48,2.56), (0.498,2.468,0.55,2.52), (0.498,2.468,0.55,2.52), (0.498,2.468,0.55,2.52), (0.498,2.468,0.55,2.52), (0.498,2.468,0.55,2.52), (0.498,2.468,0.55,2.52), (0.498,2.468,0.55,2.52), (0.498,2.468,0.55,2.52), (0.498,2.468,0.55,2.52), (0.498,2.468,0.55,2.52), (0.498,2.468,0.55,2.52), (0.498,2.468,0.55,2.52), (0.498,2.468,0.55,2.52), (0.498,2.468,0.55,2.52), (0.498,2.468,0.55,2.52), (0.498,2.468,0.55,2.52), (2.944,2.468,2.996,2.52), (2.944,2.468,2.996,2.52), (2.944,2.468,2.996,2.52), (2.944,2.468,2.996,2.52), (2.944,2.468,2.996,2.52), (2.944,2.468,2.996,2.52), (2.944,2.468,2.996,2.52), (2.944,2.468,2.996,2.52), (2.944,2.468,2.996,2.52), (2.944,2.468,2.996,2.52), (2.944,2.468,2.996,2.52), (2.944,2.468,2.996,2.52), (2.944,2.468,2.996,2.52), (2.944,2.468,2.996,2.52), (2.944,2.468,2.996,2.52), (2.944,2.468,2.996,2.52), (4.24,2.468,4.292,2.52), (4.24,2.468,4.292,2.52), (4.24,2.468,4.292,2.52), (4.24,2.468,4.292,2.52), (4.24,2.468,4.292,2.52), (4.24,2.468,4.292,2.52), (4.24,2.468,4.292,2.52), (4.24,2.468,4.292,2.52), (4.24,2.468,4.292,2.52), (4.24,2.468,4.292,2.52), (4.24,2.468,4.292,2.52), (4.24,2.468,4.292,2.52), (4.24,2.468,4.292,2.52), (4.24,2.468,4.292,2.52), (4.24,2.468,4.292,2.52), (4.24,2.468,4.292,2.52)])
R(complex25, boundary, [(0,0,4.48,2.56)])
complex25.add(gdstk.Label('CL0#Y', (2.56,0.8), layer=11, texttype=0))
complex25.add(gdstk.Label('CL1#C', (3.52,1.12), layer=11, texttype=0))
complex25.add(gdstk.Label('CL2#C', (2.24,0.48), layer=11, texttype=0))
complex25.add(gdstk.Label('CL3#B', (0.32,1.12), layer=11, texttype=0))
complex25.add(gdstk.Label('CL3#C', (0.16,1.12), layer=11, texttype=0))
complex25.add(gdstk.Label('CL4#A', (4,1.12), layer=11, texttype=0))
complex25.add(gdstk.Label('CL4#B', (4.32,1.28), layer=11, texttype=0))
complex25.add(gdstk.Label('CL5#A', (3.04,1.12), layer=11, texttype=0))
complex25.add(gdstk.Label('CL5#B', (3.2,1.12), layer=11, texttype=0))
complex25.add(gdstk.Label('CL6#A', (1.76,1.12), layer=11, texttype=0))
complex25.add(gdstk.Label('CL6#B', (1.92,1.76), layer=11, texttype=0))
complex25.add(gdstk.Label('CL7#A', (0.64,1.12), layer=11, texttype=0))
complex25.add(gdstk.Label('CL7#B', (0.8,1.12), layer=11, texttype=0))
complex25.add(gdstk.Label('CL8#A', (1.28,1.12), layer=11, texttype=0))
complex25.add(gdstk.Label('CL8#B', (0.96,1.12), layer=11, texttype=0))

lib.write_gds('COMPLEX25.gds')
